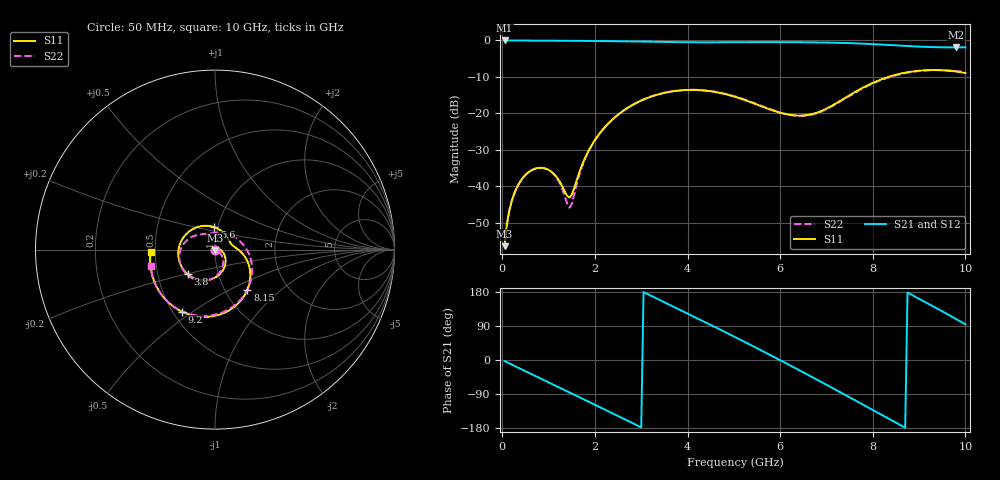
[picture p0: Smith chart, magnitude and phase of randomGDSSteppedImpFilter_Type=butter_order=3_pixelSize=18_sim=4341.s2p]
! freq	dB(S11)	phase(S11)	dB(S12)	phase(S12)
!  dB(S21)	phase(S21)	dB(S22)	phase(S22)
!S-par simulation data
#  GHz  S  DB  R 50
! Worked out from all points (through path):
!   200 points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, 50 MHz to 10 GHz, reference 50 ohm
!   highest |S21| = -0.01 dB at 50 MHz (marker M1); lowest = -1.9 dB at 9.8 GHz (marker M2)
!   group delay of S21, straight-line fit = 173 ps
!   lowest |S11| = -56.4 dB at 50 MHz (marker M3), VSWR 1.00, Z = 50 - j0.152 ohm
!   |S11| at or under -10 dB: start of sweep to 8.339 GHz
!   |S22| runs from -56.4 to -8.1 dB; largest |S21 - S12| = 0
!   S11 on the Smith chart (normalised r, x): 50 MHz: 1.00, -0.00; 3.8 GHz: 0.71, -0.21; 5.6 GHz: 0.96, +0.24; 8.15 GHz: 1.27, -0.62; 9.2 GHz: 0.56, -0.46; 10 GHz: 0.47, -0.01
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0.05  -56.37 -88.6  -0.01 -3.0  -0.01 -3.0  -56.37 -87.8
0.1  -50.30 -92.8  -0.02 -6.0  -0.02 -6.0  -50.29 -91.2
0.2  -44.19 -99.6  -0.02 -11.8  -0.02 -11.8  -44.14 -96.6
0.5  -36.86 -121.5  -0.04 -29.5  -0.04 -29.5  -36.81 -113.9
1.05  -35.88 -167.0  -0.08 -61.9  -0.08 -61.9  -35.94 -140.3
1.45  -43.06 98.8  -0.10 -85.4  -0.10 -85.4  -45.84 -93.1
1.75  -33.28 10.0  -0.12 -103.2  -0.12 -103.2  -33.65 -31.2
2.1  -25.52 -23.8  -0.16 -124.0  -0.16 -124.0  -25.59 -42.1
2.65  -18.95 -62.9  -0.25 -156.9  -0.25 -156.9  -18.94 -70.0
3.4  -14.68 -111.9  -0.41 158.4  -0.41 158.4  -14.64 -110.6
3.8  -13.76 -137.7  -0.47 134.6  -0.47 134.6  -13.71 -132.1
4.45  -13.86 179.1  -0.51 95.7  -0.51 95.7  -13.78 -166.1
5.05  -15.54 135.9  -0.49 59.2  -0.49 59.2  -15.43 164.3
5.6  -18.07 91.7  -0.46 24.9  -0.46 24.9  -17.95 139.8
6.15  -20.26 46.9  -0.47 -10.1  -0.47 -10.1  -20.23 114.4
6.7  -20.16 15.8  -0.53 -45.6  -0.53 -45.6  -20.29 74.7
7.4  -15.77 -10.8  -0.70 -91.8  -0.70 -91.8  -15.96 10.1
8.15  -10.85 -50.9  -1.11 -142.1  -1.11 -142.1  -11.02 -48.5
8.35  -9.95 -63.0  -1.26 -155.4  -1.26 -155.4  -10.11 -62.5
9.2  -8.14 -117.9  -1.80 148.4  -1.80 148.4  -8.18 -117.7
9.8  -8.53 -161.7  -1.92 108.1  -1.92 108.1  -8.38 -154.0
10  -8.92 -178.1  -1.90 94.2  -1.90 94.2  -8.68 -165.7
